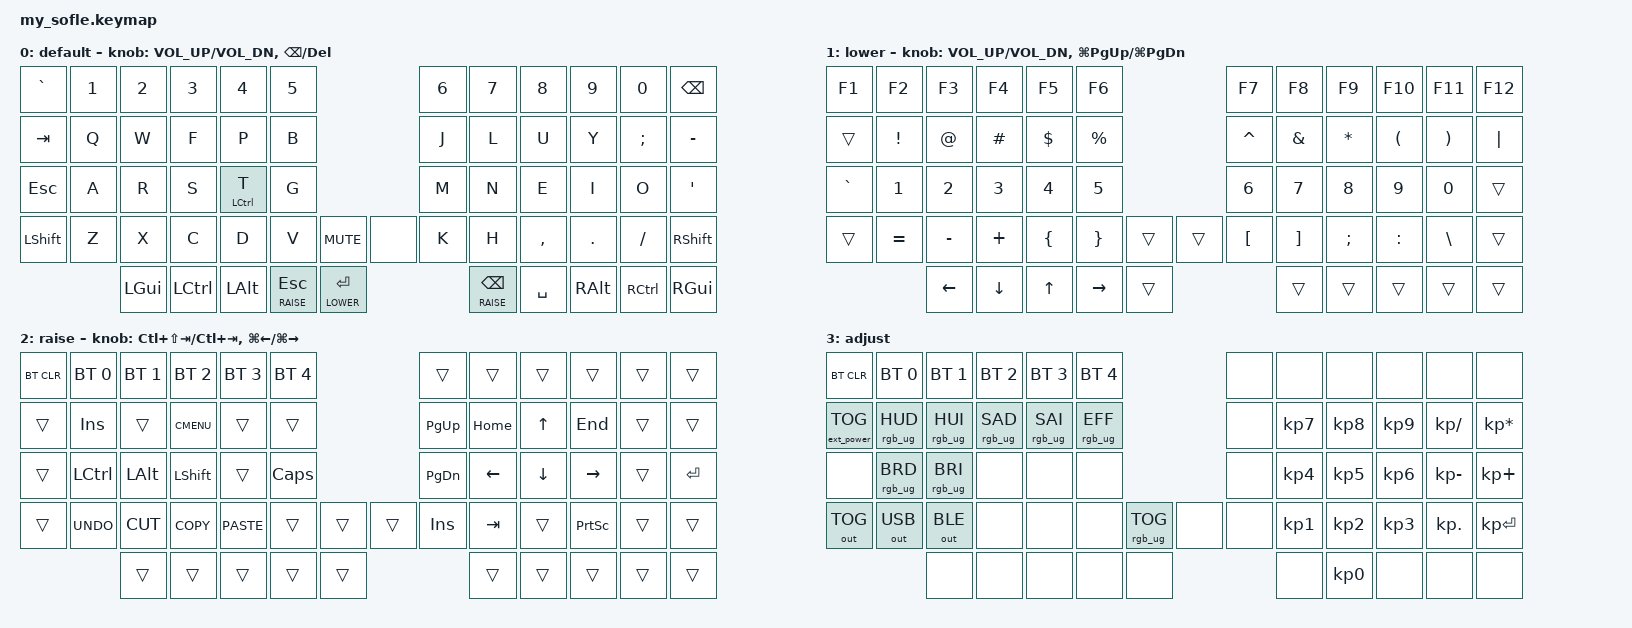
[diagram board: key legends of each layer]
/*
 * Copyright (c) 2020 The ZMK Contributors
 *
 * SPDX-License-Identifier: MIT
 */

#include <behaviors.dtsi>
#include <dt-bindings/zmk/keys.h>
#include <dt-bindings/zmk/bt.h>
#include <dt-bindings/zmk/rgb.h>
#include <dt-bindings/zmk/ext_power.h>
#include <dt-bindings/zmk/outputs.h>
#include "combos_custom.dtsi"
// #include "my_sofle_combos.dtsi"

#define BASE 0
#define LOWER 1
#define RAISE 2
#define ADJUST 3

/ {

   // Activate ADJUST layer by pressing raise and lower
    conditional_layers {
        compatible = "zmk,conditional-layers";
        adjust_layer {
            if-layers = <LOWER RAISE>;
            then-layer = <ADJUST>;
        };
    };

    behaviors {
        hml: hml {
            compatible = "zmk,behavior-hold-tap";
            flavor = "balanced";
            label = "hml";
            tapping-term-ms = <280>; 
            quick-tap-ms = <175>;
            require-prior-idle-ms = <150>;
            bindings = <&kp>, <&kp>;
            #binding-cells = <2>;
            hold-trigger-on-release;
        };
    };

    keymap {
        compatible = "zmk,keymap";

        default_layer {
            display-name = "default";
// ------------------------------------------------------------------------------------------------------------
// |   `   |  1  |  2  |  3   |  4   |  5   |                   |  6   |  7    |  8    |  9   |   0   | BKSPC |
// |  TAB  |  Q  |  W  |  F   |  P   |  B   |                   |  J   |  L    |  U    |  Y   |   ;   |   -   |
// |  ESC  |  A  |  R  |  S   |  T   |  G   |                   |  M   |  N    |  E    |  I   |   O   |   '   |
// | SHIFT |  Z  |  X  |  C   |  D   |  V   |  MUTE  |  |       |  K   |  H    |  ,    |  .   |   /   | SHIFT |
//               | GUI | CTRL | ALT  | RAISE|  LOWER |  | RAISE | SPACE|  ALT  | CTRL  | GUI  |
//               |     |      |      | (ESC)|  (RET) |  | (BSPC)|      |       |       |      |
            bindings = <
&kp GRAVE &kp N1 &kp N2   &kp N3   &kp N4    &kp N5                           &kp N6 &kp N7    &kp N8    &kp N9   &kp N0   &kp BSPC
&kp TAB   &kp Q  &kp W    &kp F    &kp P     &kp B                            &kp J  &kp L     &kp U     &kp Y    &kp SEMI &kp MINUS
&kp ESC   &kp A  &kp R    &kp S    &hml LCTRL T &kp G                            &kp M  &kp N     &kp E     &kp I    &kp O    &kp SQT
&kp LSHFT &kp Z  &kp X    &kp C    &kp D     &kp V      &kp C_MUTE &none      &kp K  &kp H     &kp COMMA &kp DOT  &kp FSLH &kp RSHFT
                 &kp LGUI &kp LCTRL &kp LALT &lt RAISE ESC  &lt LOWER RET    &lt RAISE BSPC  &kp SPACE &kp RALT &kp RCTRL  &kp RGUI
            >;

            sensor-bindings = <&inc_dec_kp C_VOL_UP C_VOL_DN &inc_dec_kp BSPC DEL>;
        };

        lower_layer {
            display-name = "lower";
// TODO: Some binds are waiting for shifted keycode support.
// ------------------------------------------------------------------------------------------------------------
// |       |  F1 |  F2 |  F3  |  F4  |  F5  |                   |  F6  |  F7   |  F8   |  F9  |  F10  |  F11  |
// |       |  !  |  @  |  #   |  $   |  %   |                   |  ^   |  &    |  *    |  (   |   )   |   |   |
// |   `   |  1  |  2  |  3   |  4   |  5   |                   |  6   |  7    |  8    |  9   |   0   |  F12  |
// |       |  =  |  -  |  +   |  {   |  }   |        |  |       |  [   |  ]    |  ;    |  :   |   \   |       |
//               | LEFT| DOWN |  UP  | RIGHT|        |  |       |      |       |       |      |
            bindings = <
&kp F1    &kp F2    &kp F3      &kp F4    &kp F5                    &kp F6    &kp F7   &kp F8    &kp F9    &kp F10   &kp F11   &kp F12  
&trans    &kp EXCL  &kp AT    &kp HASH    &kp DLLR  &kp PRCNT                 &kp CARET &kp AMPS &kp ASTRK &kp LPAR  &kp RPAR  &kp PIPE
&kp GRAVE &kp N1    &kp N2    &kp N3      &kp N4    &kp N5                    &kp N6    &kp N7   &kp N8    &kp N9    &kp N0    &trans
&trans    &kp EQUAL &kp MINUS &kp PLUS &kp LBRC  &kp RBRC   &trans &trans  &kp LBKT  &kp RBKT &kp SEMI  &kp COLON &kp BSLH  &trans
                &kp LEFT  &kp DOWN  &kp UP    &kp RIGHT     &trans &trans  &trans    &trans   &trans    &trans
            >;

            sensor-bindings = <&inc_dec_kp C_VOL_UP C_VOL_DN &inc_dec_kp LG(PG_UP) LG(PG_DN)>;
        };

        raise_layer {
            display-name = "raise";
// ------------------------------------------------------------------------------------------------------------
// | BTCLR | BT1  | BT2  |  BT3  |  BT4  |  BT5 |                |      |      |       |      |       |       |
// |       | INS  |      | MENU  |       |      |                | PGUP | HOME |   ^   | END  |       |       |
// |       | CTRL | ALT  | SHIFT |       | CAPS |                | PGDN |  <-  |   v   |  ->  |       |  RET  |
// |       | UNDO | CUT  | COPY  | PASTE |      |      |  |      | INS  | TAB  |       | PSCR |       |       |
//                |      |       |       |      |      |  |      |      |      |       |      |
            bindings = <
&bt BT_CLR &bt BT_SEL 0 &bt BT_SEL 1 &bt BT_SEL 2 &bt BT_SEL 3 &bt BT_SEL 4                  &trans    &trans    &trans   &trans    &trans  &trans
&trans     &kp INS      &trans       &kp K_CMENU  &trans       &trans                        &kp PG_UP &kp HOME  &kp UP   &kp END   &trans  &trans
&trans     &kp LCTRL    &kp LALT     &kp LSHFT    &trans       &kp CLCK                      &kp PG_DN &kp LEFT  &kp DOWN &kp RIGHT &trans  &kp RET
&trans     &kp K_UNDO   &kp K_CUT    &kp K_COPY   &kp K_PASTE  &trans        &trans  &trans  &kp INS   &kp TAB   &trans   &kp PSCRN &trans  &trans
                        &trans       &trans       &trans       &trans        &trans  &trans  &trans    &trans    &trans   &trans
            >;

            sensor-bindings = <&inc_dec_kp LC(LS(TAB)) LC(TAB) &inc_dec_kp LG(LEFT) LG(RIGHT)>;
        };

        adjust_layer {
// ----------------------------------------------------------------------------------------------------------------------------
// | BTCLR  |  BT1    |  BT2    |   BT3   |   BT4   |   BT5   |                  |      |      |  7  |  8  |   9   |   /   |   *   |
// | EXTPWR | RGB_HUD | RGB_HUI | RGB_SAD | RGB_SAI | RGB_EFF |                  |      |      |  4  |  5  |   6   |   -   |   +   |
// |        | RGB_BRD | RGB_BRI |         |         |         |                  |      |      |  1  |  2  |   3   |   .   | ENTER |
// | OUT_TOG| OUT_USB | OUT_BLE |         |         |         | RGB_TOG | |      |      |      |     |     |       |       |       |
//                    |         |         |         |         |         | |      |  0   |      |     |     |
            display-name = "adjust";
            bindings = <
&bt BT_CLR        &bt BT_SEL 0    &bt BT_SEL 1    &bt BT_SEL 2    &bt BT_SEL 3    &bt BT_SEL 4                            &none &none     &none     &none     &none           &none
&ext_power EP_TOG &rgb_ug RGB_HUD &rgb_ug RGB_HUI &rgb_ug RGB_SAD &rgb_ug RGB_SAI &rgb_ug RGB_EFF                         &none &kp KP_N7 &kp KP_N8 &kp KP_N9 &kp KP_DIVIDE   &kp KP_MULTIPLY
&none             &rgb_ug RGB_BRD &rgb_ug RGB_BRI &none           &none           &none                                   &none &kp KP_N4 &kp KP_N5 &kp KP_N6 &kp KP_MINUS    &kp KP_PLUS
&out OUT_TOG      &out OUT_USB    &out OUT_BLE    &none           &none           &none            &rgb_ug RGB_TOG &none  &none &kp KP_N1 &kp KP_N2 &kp KP_N3 &kp KP_DOT      &kp KP_ENTER
                                  &none           &none           &none           &none            &none           &none  &kp KP_N0 &none     &none     &none
            >;
        };

    };
};
